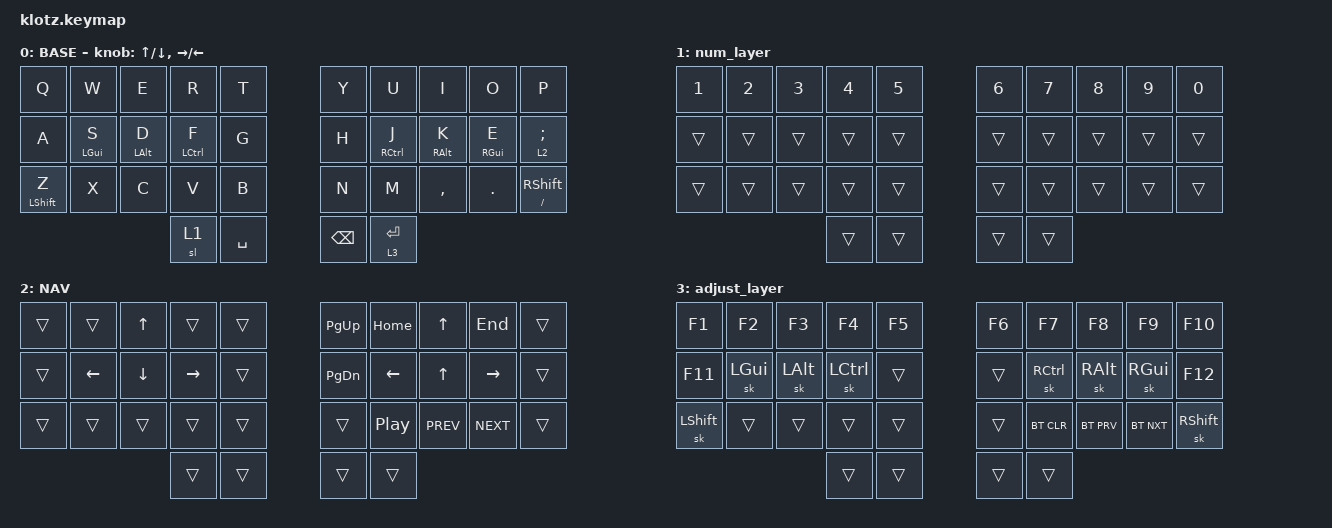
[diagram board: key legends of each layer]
#include <behaviors/num_word.dtsi>
#include <behaviors.dtsi>
#include <dt-bindings/zmk/bt.h>
#include <dt-bindings/zmk/keys.h>

#define BASE 0
#define NAV  1
#define SYM  2
#define ADJ  3

&mt {
    quick-tap-ms = <100>;
    global-quick-tap;
    flavor = "tap-preferred";
    tapping-term-ms = <300>;
};

/ {
    combos {
        compatible = "zmk,combos";

        combo_esc {
            timeout-ms = <50>;
            key-positions = <2 1>;
            bindings = <&kp ESC>;
        };

        combo_bang {
            bindings = <&kp EXCLAMATION>;
            key-positions = <0 10>;
        };

        combo_at {
            bindings = <&kp AT_SIGN>;
            key-positions = <1 11>;
        };

        combo_hash {
            bindings = <&kp HASH>;
            key-positions = <2 12>;
        };

        combo_dollar {
            bindings = <&kp DOLLAR>;
            key-positions = <3 13>;
        };

        combo_prct {
            bindings = <&kp LC(PERCENT)>;
            key-positions = <4 14>;
        };

        combo_caret {
            bindings = <&kp CARET>;
            key-positions = <5 15>;
        };

        combo_ampersand {
            bindings = <&kp AMPERSAND>;
            key-positions = <6 16>;
        };

        combo_asterix {
            bindings = <&kp ASTERISK>;
            key-positions = <7 17>;
        };

        combo_bslsh {
            bindings = <&kp BACKSLASH>;
            key-positions = <8 18>;
        };

        combo_sqt {
            bindings = <&kp SQT>;
            key-positions = <9 19>;
        };

        combo_tab {
            bindings = <&kp TAB>;
            key-positions = <11 12>;
        };

        combo_grave {
            bindings = <&kp GRAVE>;
            key-positions = <0 1>;
        };

        combo_lbrace {
            bindings = <&kp LEFT_BRACE>;
            key-positions = <7 8>;
        };

        combo_rbrace {
            bindings = <&kp RIGHT_BRACE>;
            key-positions = <8 9>;
        };

        combo_lparen {
            bindings = <&kp LEFT_PARENTHESIS>;
            key-positions = <17 18>;
        };

        combo_rparen {
            bindings = <&kp RIGHT_PARENTHESIS>;
            key-positions = <18 19>;
        };

        combo_lbracket {
            bindings = <&kp LEFT_BRACKET>;
            key-positions = <28 27>;
        };

        combo_rbracket {
            bindings = <&kp RIGHT_BRACKET>;
            key-positions = <28 29>;
        };
    };

    keymap {
        compatible = "zmk,keymap";

        // ▄▄▄▄▄▄▄▄▄▄▄▄▄▄▄▄▄▄▄▄▄▄▄▄▄▄▄▄▄▄▄▄▄▄▄▄▄▄▄▄▄▄▄▄▄▄▄▄▄▄▄▄▄▄▄▄▄▄▄▄▄▄▄▄▄▄▄▄▄▄▄▄▄▄▄▄▄▄▄▄▄▄▄▄▄▄▄▄▄▄▄▄▄▄▄▄▄▄▄▄▄▄▄▄▄▄▄▄▄▄▄▄▄▄▄▄▄▄▄▄▄▄▄▄▄

        base_layer {
            // ┏━━━━━━━━━━━━━━━━━━━━━━━━━━━━━━━━━━━━━━━┓

            label = "BASE";

            // ┗━━━━━━━━━━━━━━━━━━━━━━━━━━━━━━━━━━━━━━━┛
            // ┏━━━━━━━━━━━┳━━━━━━━━━━━┳━━━━━━━━━━━┳━━━━━━━━━━━┳━━━━━━━━━━━┓   ┏━━━━━━━━━━━┳━━━━━━━━━━━┳━━━━━━━━━━━┳━━━━━━━━━━━┳━━━━━━━━━━━┓
            // ┃     B     ┃     L     ┃     D     ┃     C     ┃     V     ┃   ┃     J     ┃     Y     ┃     O     ┃     U     ┃     ,     ┃
            // ┣━━━━━━━━━━━╋━━━━━━━━━━━╋━━━━━━━━━━━╋━━━━━━━━━━━╋━━━━━━━━━━━┫   ┣━━━━━━━━━━━╋━━━━━━━━━━━╋━━━━━━━━━━━╋━━━━━━━━━━━╋━━━━━━━━━━━┫
            // ┃     N     ┃     R     ┃     T     ┃     S     ┃     G     ┃   ┃     P     ┃     H     ┃     A     ┃     E     ┃     I     ┃
            // ┣━━━━━━━━━━━╋━━━━━━━━━━━╋━━━━━━━━━━━╋━━━━━━━━━━━╋━━━━━━━━━━━┫   ┣━━━━━━━━━━━╋━━━━━━━━━━━╋━━━━━━━━━━━╋━━━━━━━━━━━╋━━━━━━━━━━━┫
            // ┃     X     ┃     Q     ┃     M     ┃     W     ┃     Z     ┃   ┃     K     ┃     F     ┃     '     ┃     ;     ┃     .     ┃
            // ┗━━━━━━━━━━━┻━━━━━━━━━━━┻━━━━━━━━━━━╋━━━━━━━━━━━╋━━━━━━━━━━━┫   ┣━━━━━━━━━━━╋━━━━━━━━━━━╋━━━━━━━━━━━┻━━━━━━━━━━━┻━━━━━━━━━━━┛
            //                                     ┃    SPC    ┃    TAB    ┃   ┃   ENTER   ┃   BSPC    ┃
            //                                     ┗━━━━━━━━━━━┻━━━━━━━━━━━┛   ┗━━━━━━━━━━━┻━━━━━━━━━━━┛

            bindings = <
&kp Q             &kp W           &kp E       &kp R        &kp T      &kp Y          &kp U        &kp I            &kp O            &kp P
&kp A             &mt LEFT_GUI S  &mt LALT D  &mt LCTRL F  &kp G      &kp H          &mt RCTRL J  &mt RIGHT_ALT K  &mt RIGHT_GUI E  &lt 2 SEMICOLON
&mt LEFT_SHIFT Z  &kp X           &kp C       &kp V        &kp B      &kp N          &kp M        &kp COMMA        &kp PERIOD       &mt SLASH RIGHT_SHIFT
                                              &sl 1        &kp SPACE  &kp BACKSPACE  &lt 3 ENTER
            >;

            sensor-bindings =
                <&inc_dec_kp UP_ARROW DOWN_ARROW>,
                <&inc_dec_kp RIGHT LEFT_ARROW>;
        };

        num_layer {
            bindings = <
&kp N1  &kp N2  &kp N3  &kp N4  &kp N5  &kp N6  &kp N7  &kp N8  &kp N9  &kp N0
&trans  &trans  &trans  &trans  &trans  &trans  &trans  &trans  &trans  &trans
&trans  &trans  &trans  &trans  &trans  &trans  &trans  &trans  &trans  &trans
                        &trans  &trans  &trans  &trans
            >;
        };

        nav_layer {
            // ┏━━━━━━━━━━━━━━━━━━━━━━━━━━━━━━━━━━━━━━━┓

            label = "NAV";

            // ┗━━━━━━━━━━━━━━━━━━━━━━━━━━━━━━━━━━━━━━━┛
            // ┏━━━━━━━━━━━┳━━━━━━━━━━━┳━━━━━━━━━━━┳━━━━━━━━━━━┳━━━━━━━━━━━┓   ┏━━━━━━━━━━━┳━━━━━━━━━━━┳━━━━━━━━━━━┳━━━━━━━━━━━┳━━━━━━━━━━━┓
            // ┃           ┃           ┃           ┃           ┃           ┃   ┃           ┃           ┃   P UP    ┃           ┃           ┃
            // ┣━━━━━━━━━━━╋━━━━━━━━━━━╋━━━━━━━━━━━╋━━━━━━━━━━━╋━━━━━━━━━━━┫   ┣━━━━━━━━━━━╋━━━━━━━━━━━╋━━━━━━━━━━━╋━━━━━━━━━━━╋━━━━━━━━━━━┫
            // ┃           ┃           ┃           ┃           ┃           ┃   ┃   LEFT    ┃   DOWN    ┃    UP     ┃   RIGHT   ┃           ┃
            // ┣━━━━━━━━━━━╋━━━━━━━━━━━╋━━━━━━━━━━━╋━━━━━━━━━━━╋━━━━━━━━━━━┫   ┣━━━━━━━━━━━╋━━━━━━━━━━━╋━━━━━━━━━━━╋━━━━━━━━━━━╋━━━━━━━━━━━┫
            // ┃           ┃           ┃           ┃           ┃           ┃   ┃           ┃  P DOWN   ┃           ┃           ┃           ┃
            // ┗━━━━━━━━━━━┻━━━━━━━━━━━┻━━━━━━━━━━━╋━━━━━━━━━━━╋━━━━━━━━━━━┫   ┣━━━━━━━━━━━╋━━━━━━━━━━━╋━━━━━━━━━━━┻━━━━━━━━━━━┻━━━━━━━━━━━┛
            //                                     ┃           ┃           ┃   ┃    DEL    ┃           ┃
            //                                     ┗━━━━━━━━━━━┻━━━━━━━━━━━┛   ┗━━━━━━━━━━━┻━━━━━━━━━━━┛

            bindings = <
&trans  &trans    &kp UP    &trans     &trans  &kp PAGE_UP    &kp HOME          &kp UP_ARROW  &kp END     &trans
&trans  &kp LEFT  &kp DOWN  &kp RIGHT  &trans  &kp PAGE_DOWN  &kp LEFT          &kp UP        &kp RIGHT   &trans
&trans  &trans    &trans    &trans     &trans  &trans         &kp C_PLAY_PAUSE  &kp C_PREV    &kp C_NEXT  &trans
                            &trans     &trans  &trans         &trans
            >;
        };

        adjust_layer {
            bindings = <
&kp F1          &kp F2        &kp F3        &kp F4            &kp F5  &kp F6  &kp F7      &kp F8         &kp F9         &kp F10
&kp F11         &sk LEFT_GUI  &sk LEFT_ALT  &sk LEFT_CONTROL  &trans  &trans  &sk RCTRL   &sk RIGHT_ALT  &sk RIGHT_GUI  &kp F12
&sk LEFT_SHIFT  &trans        &trans        &trans            &trans  &trans  &bt BT_CLR  &bt BT_PRV     &bt BT_NXT     &sk RIGHT_SHIFT
                                            &trans            &trans  &trans  &trans
            >;
        };
    };
};
